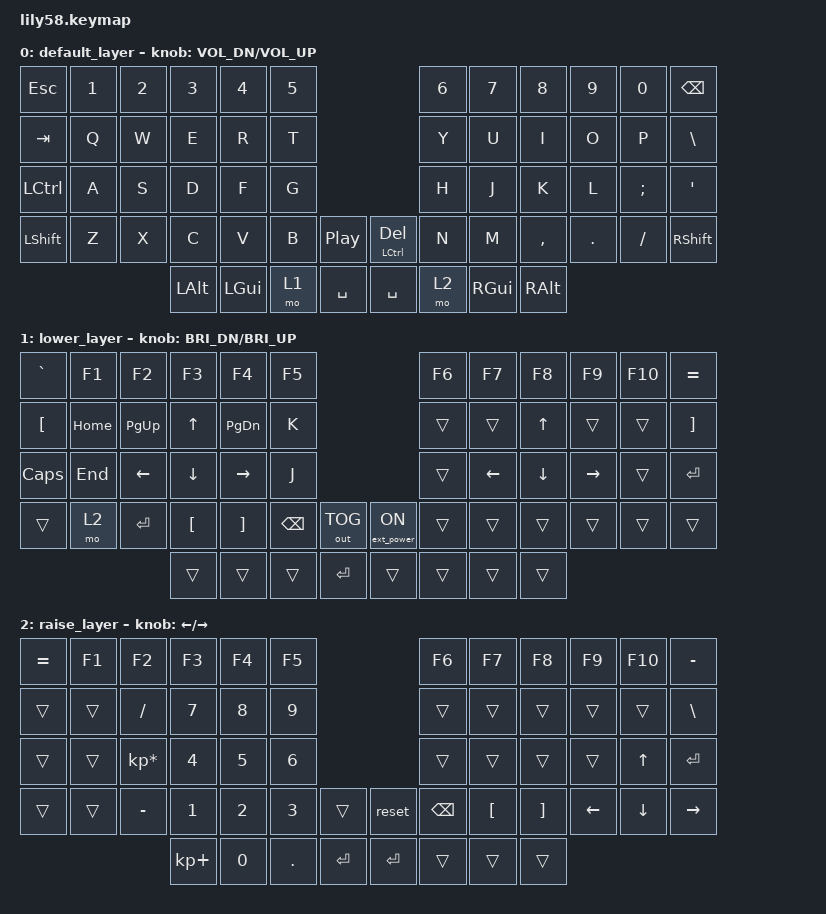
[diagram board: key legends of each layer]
/*
 * Copyright (c) 2020 The ZMK Contributors
 *
 * SPDX-License-Identifier: MIT
 */

#include <behaviors.dtsi>
#include <dt-bindings/zmk/keys.h>
#include <dt-bindings/zmk/bt.h>
#include <dt-bindings/zmk/ext_power.h>
#include <dt-bindings/zmk/outputs.h>

/ {
	keymap {
		compatible = "zmk,keymap";

		default_layer {
// ------------------------------------------------------------------------------------------------------------
// |  ESC  |  1  |  2  |  3   |  4   |  5   |                   |  6   |  7    |  8    |  9   |   0   |  BKSP |
// |  TAB  |  Q  |  W  |  E   |  R   |  T   |                   |  Y   |  U    |  I    |  O   |   P   |  "\"  |
// |  CTRL |  A  |  S  |  D   |  F   |  G   |                   |  H   |  J    |  K    |  L   |   ;   |   '   |
// | SHIFT |  Z  |  X  |  C   |  V   |  B   |  PLAY  |  |  DEL  |  N   |  M    |  ,    |  .   |   /   | SHIFT |
//                     | ALT  | GUI  | LOWER|  SPACE |  | SPACE | RAISE| GUI   | ALT   |
			bindings = <
&kp ESC   &kp N1 &kp N2 &kp N3   &kp N4   &kp N5                       &kp N6 &kp N7   &kp N8    &kp N9  &kp N0   &kp BSPC
&kp TAB   &kp Q  &kp W  &kp E    &kp R    &kp T                        &kp Y  &kp U    &kp I     &kp O   &kp P    &kp BSLH
&kp LCTL  &kp A  &kp S  &kp D    &kp F    &kp G                        &kp H  &kp J    &kp K     &kp L   &kp SEMI &kp SQT
&kp LSHFT &kp Z  &kp X  &kp C    &kp V    &kp B  &kp C_PP &mt LCTL DEL   &kp N  &kp M    &kp COMMA &kp DOT &kp FSLH &kp RSHFT
                        &kp LALT &kp LGUI &mo 1  &kp SPACE  &kp SPACE  &mo 2  &kp RGUI &kp RALT
			>;

			sensor-bindings = <&inc_dec_kp C_VOL_DN C_VOL_UP>;
		};

		lower_layer {
// ------------------------------------------------------------------------------------------------------------
// |   `   |  F1 |  F2 |  F3  |  F4  |  F5  |                   |  F6  |  F7   |  F8   |  F9  |  F10  |   =   |
// |  "["  | HOME|PG UP|  ^   |PG DN |   K  |                   |      |       |   ^   |      |       |  "]"  |
// |  CAPS | END |  <- |  v   |  ->  |   J  |                   |      |   <-  |   v   |  ->  |       | ENTER |
// |       |RAISE|ENTER| "["  | "]"  | BSPC | TOGGLE |  | EP ON |      |       |       |      |       |       |
//                     |      |      |      |  ENTER |  |       |      |       |       |
			bindings = <
&kp GRAVE &kp F1    &kp F2     &kp F3   &kp F4     &kp F5                       &kp F6 &kp F7   &kp F8    &kp F9     &kp F10  &kp EQUAL
&kp LBKT  &kp HOME  &kp PG_UP  &kp UP   &kp PG_DN  &kp K                        &trans &trans   &kp UP    &trans     &trans   &kp RBKT
&kp CAPS  &kp END   &kp LEFT   &kp DOWN &kp RIGHT  &kp J                        &trans &kp LEFT &kp DOWN  &kp RIGHT  &trans   &kp RET
&trans    &mo 2     &kp RET    &kp LBKT &kp RBKT   &kp BSPC &out OUT_TOG &ext_power EP_ON &trans &trans &trans &trans &trans  &trans
                               &trans   &trans     &trans   &kp RET      &trans &trans &trans   &trans
			>;

			sensor-bindings = <&inc_dec_kp C_BRI_DN C_BRI_UP>;
		};

		raise_layer {
// ------------------------------------------------------------------------------------------------------------
// |   =   |  F1 |  F2 |  F3  |  F4  |  F5  |                   |  F6  |  F7   |  F8   |  F9  |  F10  |   -   |
// |       |     |  /  |   7  |   8  |   9  |                   |      |       |       |      |       |   \   |
// |       |     |  *  |   4  |   5  |   6  |                   |      |       |       |      |   ^   | ENTER |
// |       |     |  -  |   1  |   2  |   3  |        |  | RESET | BKSP |  "["  |  "]"  | <-   |   v   |  ->   |
//                     |   +  |   0  |   .  |  ENTER |  | ENTER |      |       |       |
			bindings = <
&kp EQUAL &kp F1    &kp F2          &kp F3      &kp F4  &kp F5                    &kp F6   &kp F7   &kp F8    &kp F9      &kp F10  &kp MINUS
&trans    &trans    &kp FSLH        &kp N7      &kp N8  &kp N9                    &trans   &trans   &trans    &trans      &trans   &kp BSLH
&trans    &trans    &kp KP_MULTIPLY &kp N4      &kp N5  &kp N6                    &trans   &trans   &trans    &trans      &kp UP   &kp RET
&trans    &trans    &kp MINUS       &kp N1      &kp N2  &kp N3   &trans  &reset   &kp BSPC &kp LBKT &kp RBKT  &kp LEFT    &kp DOWN &kp RIGHT
                                    &kp KP_PLUS &kp N0  &kp DOT  &kp RET &kp RET  &trans   &trans   &trans
			>;

			sensor-bindings = <&inc_dec_kp LEFT RIGHT>;
		};
	};
};
